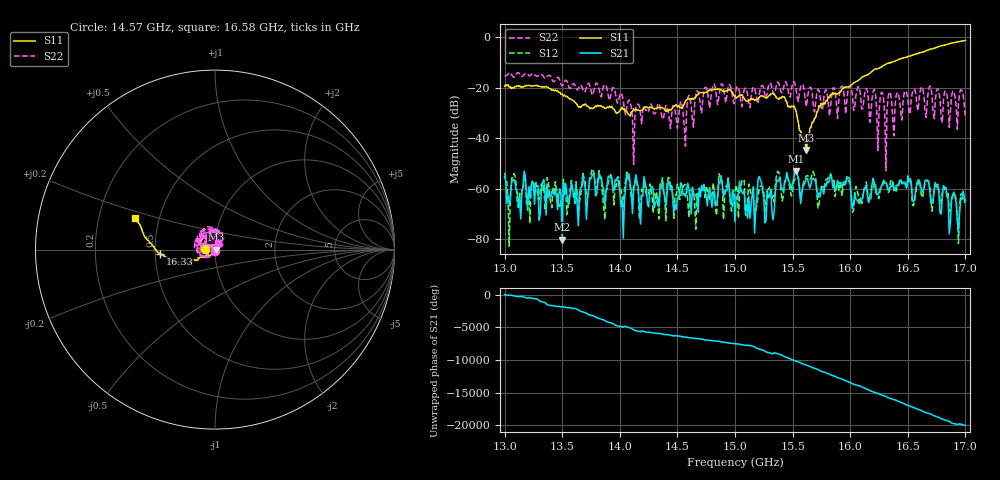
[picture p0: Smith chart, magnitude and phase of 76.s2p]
!Keysight Technologies,P9374A,MY57211807,A.19.30.04
!Date: Friday, May 01, 2026 14:24:41
!Correction: S11(C  2-Port  )
!S21(C  2-Port  )
!S12(C  2-Port  )
!S22(C  2-Port  )
!S2P File: Measurements: S11, S21, S12, S22:
# Hz S  RI  R 50
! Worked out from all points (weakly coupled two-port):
!   401 points, 13 GHz to 17 GHz, reference 50 ohm
!   highest |S21| = -52.89 dB at 15.53 GHz (marker M1); lowest = -80.1 dB at 13.5 GHz (marker M2)
!   lowest |S11| = -44.6 dB at 15.62 GHz (marker M3), VSWR 1.01, Z = 50.6 - j0.03 ohm
!   |S11| at or under -10 dB: start of sweep to 16.35 GHz
!   |S22| runs from -52.8 to -13.9 dB; largest |S21 - S12| = 0.001
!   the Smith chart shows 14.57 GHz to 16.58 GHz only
!   S11 on the Smith chart (normalised r, x): 14.57 GHz: 0.90, +0.00; 16.33 GHz: 0.53, -0.03; 16.58 GHz: 0.36, +0.17
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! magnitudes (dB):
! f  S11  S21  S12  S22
! 13 GHz  -19.4  -55.1  -53.7  -15.2
! 13.03 GHz  -18.8  -62.5  -64.6  -14.4
! 13.08 GHz  -20.0  -56.3  -53.9  -15.8
! 13.13 GHz  -19.0  -64.0  -61.8  -14.4
! 13.5 GHz  -22.5  -80.1  -67.7  -19.2
! 13.67 GHz  -27.1  -59.3  -59.0  -19.3
! 14.02 GHz  -27.7  -64.5  -62.9  -22.9
! 14.12 GHz  -28.2  -60.6  -58.6  -50.4
! 14.34 GHz  -27.9  -67.2  -72.0  -26.1
! 14.57 GHz  -25.2  -63.1  -58.2  -43.1
! 15 GHz  -23.2  -73.1  -60.9  -23.2
! 15.15 GHz  -24.6  -62.6  -63.4  -20.7
! 15.22 GHz  -23.3  -56.4  -59.0  -20.3
! 15.32 GHz  -22.4  -68.8  -63.9  -19.8
! 15.53 GHz  -29.1  -52.9  -55.9  -20.4
! 15.62 GHz  -44.6  -56.0  -54.8  -27.4
! 15.67 GHz  -33.6  -56.0  -53.7  -22.2
! 15.73 GHz  -27.0  -61.7  -66.0  -21.1
! 16.33 GHz  -10.3  -60.5  -61.5  -23.3
! 16.34 GHz  -10.1  -59.9  -61.0  -21.6
! 16.58 GHz  -6.4  -58.0  -57.7  -27.3
! 17 GHz  -1.2  -64.6  -66.8  -31.7
